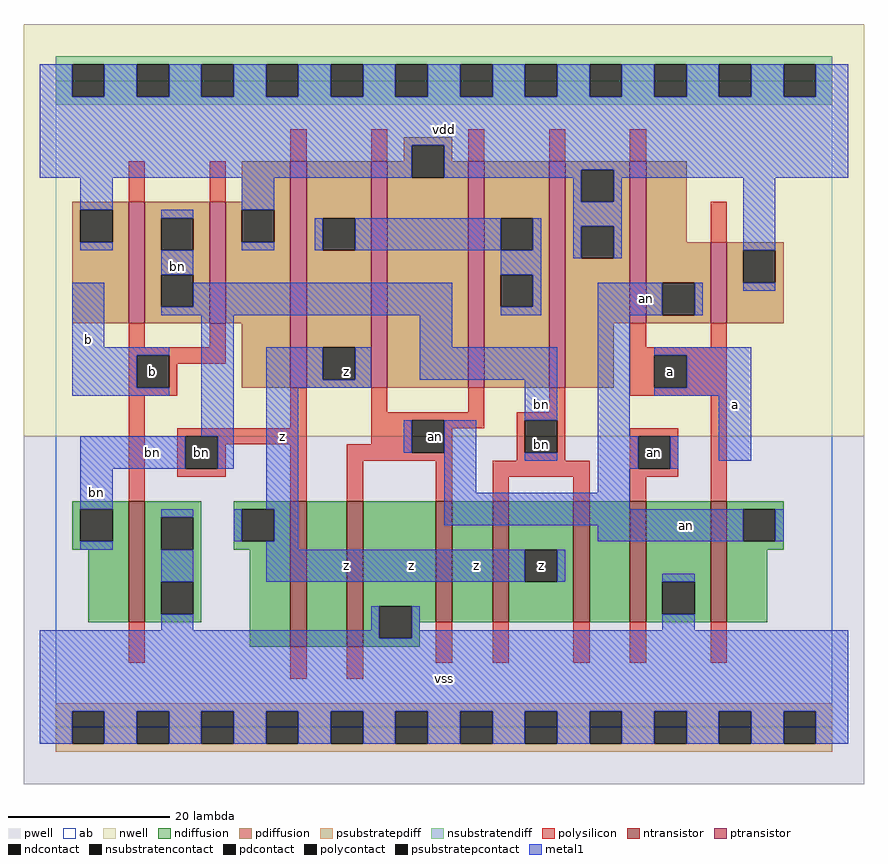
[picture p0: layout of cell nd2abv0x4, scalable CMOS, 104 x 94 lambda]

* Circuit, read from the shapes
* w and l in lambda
.subckt nd2abv0x4 a an b bn vdd vss z
M1 vss b bn vss nfet w=15 l=2
M2 n1 bn z vss nfet w=18 l=2
M3 vss an n1 vss nfet w=18 l=2
M4 n2 an vss vss nfet w=15 l=2
M5 z bn n2 vss nfet w=15 l=2
M6 n3 bn z vss nfet w=15 l=2
M7 vss an n3 vss nfet w=15 l=2
M8 an a vss vss nfet w=15 l=2
M9 bn b vdd vdd pfet w=15 l=2 m=2
M10 z bn vdd vdd pfet w=28 l=2 m=2
M11 vdd an z vdd pfet w=28 l=2 m=2
M12 an a vdd vdd pfet w=20 l=2
M13 vdd a an vdd pfet w=10 l=2
.ends

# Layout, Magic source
magic
tech scmos
<< ab >>
rect 0 0 96 80
<< pwell >>
rect -4 -7 100 36
<< nwell >>
rect -4 36 100 87
<< polysilicon >>
rect 29 70 31 74
rect 39 70 41 74
rect 9 65 11 70
rect 19 65 21 70
rect 9 47 11 50
rect 19 47 21 50
rect 9 46 21 47
rect 9 42 10 46
rect 14 45 21 46
rect 14 42 15 45
rect 51 70 53 74
rect 61 70 63 74
rect 71 70 73 74
rect 81 60 83 65
rect 71 47 73 50
rect 81 47 83 50
rect 71 46 83 47
rect 71 42 74 46
rect 78 42 83 46
rect 9 41 15 42
rect 9 28 11 41
rect 29 37 31 42
rect 15 36 31 37
rect 15 32 16 36
rect 20 35 31 36
rect 39 39 41 42
rect 51 39 53 42
rect 61 39 63 42
rect 71 41 83 42
rect 39 38 53 39
rect 39 35 44 38
rect 20 32 21 35
rect 15 31 21 32
rect 29 28 31 35
rect 36 34 44 35
rect 48 37 53 38
rect 57 38 63 39
rect 48 34 49 37
rect 36 33 49 34
rect 57 34 58 38
rect 62 34 63 38
rect 57 33 63 34
rect 71 36 77 37
rect 36 28 38 33
rect 47 28 49 33
rect 54 31 66 33
rect 54 28 56 31
rect 64 28 66 31
rect 71 32 72 36
rect 76 32 77 36
rect 71 31 77 32
rect 71 28 73 31
rect 81 28 83 41
rect 9 8 11 13
rect 29 6 31 10
rect 36 6 38 10
rect 47 8 49 13
rect 54 8 56 13
rect 64 8 66 13
rect 71 8 73 13
rect 81 8 83 13
<< ndiffusion >>
rect 2 27 9 28
rect 2 23 3 27
rect 7 23 9 27
rect 2 22 9 23
rect 4 13 9 22
rect 11 26 18 28
rect 11 22 13 26
rect 17 22 18 26
rect 22 27 29 28
rect 22 23 23 27
rect 27 23 29 27
rect 22 22 29 23
rect 11 18 18 22
rect 11 14 13 18
rect 17 14 18 18
rect 11 13 18 14
rect 24 10 29 22
rect 31 10 36 28
rect 38 15 47 28
rect 38 11 40 15
rect 44 13 47 15
rect 49 13 54 28
rect 56 22 64 28
rect 56 18 58 22
rect 62 18 64 22
rect 56 13 64 18
rect 66 13 71 28
rect 73 18 81 28
rect 73 14 75 18
rect 79 14 81 18
rect 73 13 81 14
rect 83 27 90 28
rect 83 23 85 27
rect 89 23 90 27
rect 83 22 90 23
rect 83 13 88 22
rect 44 11 45 13
rect 38 10 45 11
<< pdiffusion >>
rect 43 72 49 73
rect 43 70 44 72
rect 23 65 29 70
rect 2 64 9 65
rect 2 60 3 64
rect 7 60 9 64
rect 2 50 9 60
rect 11 63 19 65
rect 11 59 13 63
rect 17 59 19 63
rect 11 56 19 59
rect 11 52 13 56
rect 17 52 19 56
rect 11 50 19 52
rect 21 64 29 65
rect 21 60 23 64
rect 27 60 29 64
rect 21 50 29 60
rect 23 42 29 50
rect 31 63 39 70
rect 31 59 33 63
rect 37 59 39 63
rect 31 47 39 59
rect 31 43 33 47
rect 37 43 39 47
rect 31 42 39 43
rect 41 68 44 70
rect 48 70 49 72
rect 48 68 51 70
rect 41 42 51 68
rect 53 63 61 70
rect 53 59 55 63
rect 59 59 61 63
rect 53 56 61 59
rect 53 52 55 56
rect 59 52 61 56
rect 53 42 61 52
rect 63 69 71 70
rect 63 65 65 69
rect 69 65 71 69
rect 63 62 71 65
rect 63 58 65 62
rect 69 58 71 62
rect 63 50 71 58
rect 73 60 78 70
rect 73 55 81 60
rect 73 51 75 55
rect 79 51 81 55
rect 73 50 81 51
rect 83 59 90 60
rect 83 55 85 59
rect 89 55 90 59
rect 83 50 90 55
rect 63 42 69 50
<< metal1 >>
rect -2 78 2 82
rect 6 78 10 82
rect 14 78 18 82
rect 22 78 26 82
rect 30 78 34 82
rect 38 78 42 82
rect 46 78 50 82
rect 54 78 58 82
rect 62 78 66 82
rect 70 78 74 82
rect 78 78 82 82
rect 86 78 90 82
rect 94 78 98 82
rect -2 72 98 78
rect -2 68 44 72
rect 48 69 98 72
rect 48 68 65 69
rect 3 64 7 68
rect 23 64 27 68
rect 3 59 7 60
rect 13 63 17 64
rect 64 65 65 68
rect 69 68 98 69
rect 69 65 70 68
rect 23 59 27 60
rect 32 59 33 63
rect 37 59 55 63
rect 59 59 60 63
rect 13 56 17 59
rect 2 47 6 55
rect 55 56 60 59
rect 64 62 70 65
rect 64 58 65 62
rect 69 58 70 62
rect 85 59 89 68
rect 17 52 49 55
rect 13 51 49 52
rect 59 52 60 56
rect 55 51 60 52
rect 67 51 75 55
rect 79 51 80 55
rect 85 54 89 55
rect 2 46 14 47
rect 2 42 10 46
rect 2 41 14 42
rect 18 36 22 51
rect 45 47 49 51
rect 3 32 16 36
rect 20 32 22 36
rect 26 43 33 47
rect 37 43 39 47
rect 45 43 62 47
rect 26 42 39 43
rect 3 27 7 32
rect 26 27 30 42
rect 58 38 62 43
rect 43 34 44 38
rect 3 22 7 23
rect 13 26 17 27
rect 22 23 23 27
rect 27 23 30 27
rect 48 29 52 38
rect 58 33 62 34
rect 67 36 71 51
rect 74 46 86 47
rect 78 42 86 46
rect 74 41 86 42
rect 67 32 72 36
rect 76 32 77 36
rect 82 33 86 41
rect 67 29 71 32
rect 48 27 71 29
rect 48 25 85 27
rect 67 23 85 25
rect 89 23 90 27
rect 13 18 17 22
rect 26 22 30 23
rect 26 18 58 22
rect 62 18 63 22
rect 75 18 79 19
rect 13 12 17 14
rect 39 12 40 15
rect -2 11 40 12
rect 44 12 45 15
rect 75 12 79 14
rect 44 11 98 12
rect -2 2 98 11
rect -2 -2 2 2
rect 6 -2 10 2
rect 14 -2 18 2
rect 22 -2 26 2
rect 30 -2 34 2
rect 38 -2 42 2
rect 46 -2 50 2
rect 54 -2 58 2
rect 62 -2 66 2
rect 70 -2 74 2
rect 78 -2 82 2
rect 86 -2 90 2
rect 94 -2 98 2
<< ntransistor >>
rect 9 13 11 28
rect 29 10 31 28
rect 36 10 38 28
rect 47 13 49 28
rect 54 13 56 28
rect 64 13 66 28
rect 71 13 73 28
rect 81 13 83 28
<< ptransistor >>
rect 9 50 11 65
rect 19 50 21 65
rect 29 42 31 70
rect 39 42 41 70
rect 51 42 53 70
rect 61 42 63 70
rect 71 50 73 70
rect 81 50 83 60
<< polycontact >>
rect 10 42 14 46
rect 74 42 78 46
rect 16 32 20 36
rect 44 34 48 38
rect 58 34 62 38
rect 72 32 76 36
<< ndcontact >>
rect 3 23 7 27
rect 13 22 17 26
rect 23 23 27 27
rect 13 14 17 18
rect 40 11 44 15
rect 58 18 62 22
rect 75 14 79 18
rect 85 23 89 27
<< pdcontact >>
rect 3 60 7 64
rect 13 59 17 63
rect 13 52 17 56
rect 23 60 27 64
rect 33 59 37 63
rect 33 43 37 47
rect 44 68 48 72
rect 55 59 59 63
rect 55 52 59 56
rect 65 65 69 69
rect 65 58 69 62
rect 75 51 79 55
rect 85 55 89 59
<< psubstratepcontact >>
rect 2 -2 6 2
rect 10 -2 14 2
rect 18 -2 22 2
rect 26 -2 30 2
rect 34 -2 38 2
rect 42 -2 46 2
rect 50 -2 54 2
rect 58 -2 62 2
rect 66 -2 70 2
rect 74 -2 78 2
rect 82 -2 86 2
rect 90 -2 94 2
<< nsubstratencontact >>
rect 2 78 6 82
rect 10 78 14 82
rect 18 78 22 82
rect 26 78 30 82
rect 34 78 38 82
rect 42 78 46 82
rect 50 78 54 82
rect 58 78 62 82
rect 66 78 70 82
rect 74 78 78 82
rect 82 78 86 82
rect 90 78 94 82
<< psubstratepdiff >>
rect 0 2 96 3
rect 0 -2 2 2
rect 6 -2 10 2
rect 14 -2 18 2
rect 22 -2 26 2
rect 30 -2 34 2
rect 38 -2 42 2
rect 46 -2 50 2
rect 54 -2 58 2
rect 62 -2 66 2
rect 70 -2 74 2
rect 78 -2 82 2
rect 86 -2 90 2
rect 94 -2 96 2
rect 0 -3 96 -2
<< nsubstratendiff >>
rect 0 82 96 83
rect 0 78 2 82
rect 6 78 10 82
rect 14 78 18 82
rect 22 78 26 82
rect 30 78 34 82
rect 38 78 42 82
rect 46 78 50 82
rect 54 78 58 82
rect 62 78 66 82
rect 70 78 74 82
rect 78 78 82 82
rect 86 78 90 82
rect 94 78 96 82
rect 0 77 96 78
<< labels >>
rlabel polycontact 18 34 18 34 6 bn
rlabel polycontact 60 35 60 35 6 bn
rlabel polycontact 74 34 74 34 6 an
rlabel metal1 5 29 5 29 6 bn
rlabel polycontact 12 44 12 44 6 b
rlabel metal1 4 48 4 48 6 b
rlabel metal1 15 57 15 57 6 bn
rlabel metal1 12 34 12 34 6 bn
rlabel metal1 28 36 28 36 6 z
rlabel metal1 48 6 48 6 6 vss
rlabel metal1 36 20 36 20 6 z
rlabel metal1 52 20 52 20 6 z
rlabel metal1 44 20 44 20 6 z
rlabel pdcontact 36 44 36 44 6 z
rlabel polycontact 47 36 47 36 6 an
rlabel metal1 48 74 48 74 6 vdd
rlabel ndcontact 60 20 60 20 6 z
rlabel metal1 72 34 72 34 6 an
rlabel metal1 60 40 60 40 6 bn
rlabel polycontact 76 44 76 44 6 a
rlabel metal1 78 25 78 25 6 an
rlabel metal1 84 40 84 40 6 a
rlabel metal1 73 53 73 53 6 an
<< end >>
